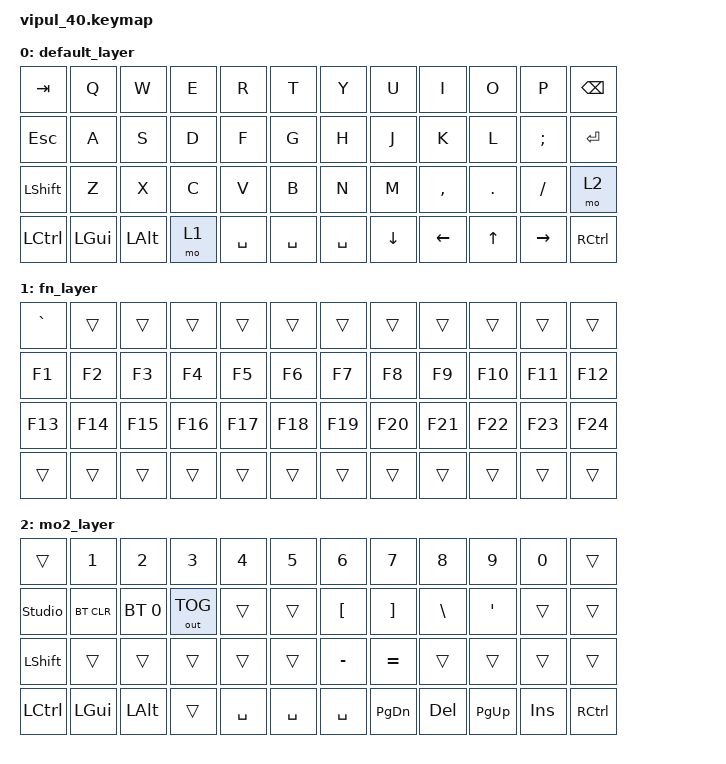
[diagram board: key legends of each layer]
#include <behaviors.dtsi>
#include <dt-bindings/zmk/keys.h>
#include <dt-bindings/zmk/bt.h>
#include <dt-bindings/zmk/outputs.h>

/ {
    combos {
        compatible = "zmk,combos";

        combo_reset {
            timeout-ms = <3000>;
            key-positions = <0 12 23>;
            bindings = <&bootloader>;
        };
    };

    keymap {
        compatible = "zmk,keymap";

        default_layer {
            bindings = <
                &kp TAB      &kp Q      &kp W      &kp E      &kp R      &kp T      &kp Y      &kp U      &kp I      &kp O      &kp P      &kp BSPC
                &kp ESC      &kp A      &kp S      &kp D      &kp F      &kp G      &kp H      &kp J      &kp K      &kp L      &kp SEMI   &kp RET
                &kp LSHFT    &kp Z      &kp X      &kp C      &kp V      &kp B      &kp N      &kp M      &kp COMMA  &kp DOT    &kp FSLH   &mo 2
                &kp LCTRL    &kp LGUI   &kp LALT   &mo 1      &kp SPACE  &kp SPACE  &kp SPACE  &kp DOWN   &kp LEFT   &kp UP     &kp RIGHT  &kp RCTRL
            >;
        };

        fn_layer {
            bindings = <
                &kp GRAVE  &trans    &trans    &trans    &trans    &trans    &trans    &trans    &trans    &trans    &trans    &trans
                &kp F1    &kp F2    &kp F3    &kp F4    &kp F5    &kp F6    &kp F7    &kp F8    &kp F9    &kp F10   &kp F11   &kp F12
                &kp F13   &kp F14   &kp F15   &kp F16   &kp F17   &kp F18   &kp F19   &kp F20   &kp F21   &kp F22   &kp F23   &kp F24
                &trans    &trans    &trans    &trans    &trans    &trans    &trans    &trans    &trans    &trans    &trans    &trans
            >;
        };

        mo2_layer {
            bindings = <
                &trans  &kp N1   &kp N2   &kp N3   &kp N4   &kp N5   &kp N6   &kp N7   &kp N8   &kp N9   &kp N0   &trans
                &studio_unlock  &bt BT_CLR  &bt BT_SEL 0  &out OUT_TOG  &trans  &trans  &kp LBKT  &kp RBKT  &kp BSLH  &kp SQT  &trans  &trans
                &kp LSHFT  &trans  &trans  &trans  &trans  &trans  &kp MINUS  &kp EQUAL  &trans  &trans  &trans  &trans
                &kp LCTRL  &kp LGUI  &kp LALT  &trans  &kp SPACE  &kp SPACE  &kp SPACE   &kp PG_DN   &kp DEL   &kp PG_UP   &kp INS      &kp RCTRL
            >;
        };
    };
};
